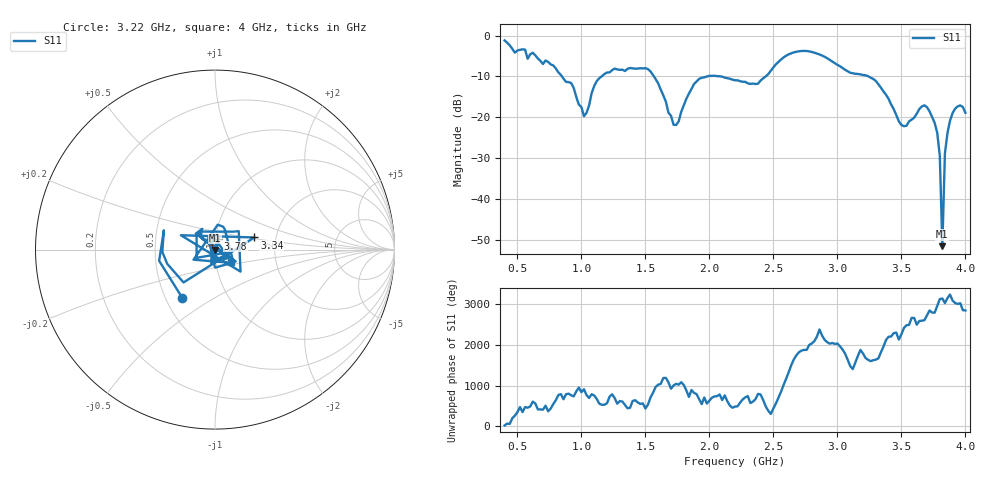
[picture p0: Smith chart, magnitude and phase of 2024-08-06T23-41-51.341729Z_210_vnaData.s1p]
!Created with skrf (http://scikit-rf.org).
# Hz S RI R 50.0
!freq ReS11 ImS11
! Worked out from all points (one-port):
!   181 points, 400 MHz to 4 GHz, reference 50 ohm
!   lowest |S11| = -51.6 dB at 3.82 GHz (marker M1), VSWR 1.01, Z = 49.9 - j0.254 ohm
!   |S11| at or under -10 dB: 1.566 GHz to 1.984 GHz (417.9 MHz wide, 23.5 % of centre); 2.083 GHz to 2.441 GHz (357.1 MHz wide, 15.8 % of centre); 3.242 GHz to end of sweep (the widest 3 of 4)
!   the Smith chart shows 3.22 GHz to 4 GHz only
!   S11 on the Smith chart (normalised r, x): 3.22 GHz: 0.61, -0.37; 3.34 GHz: 1.54, +0.22; 3.78 GHz: 1.03, +0.13; 4 GHz: 1.18, -0.17
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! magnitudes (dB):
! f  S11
! 400 MHz  -1.2
! 860 MHz  -10.6
! 920 MHz  -11.6
! 1.02 GHz  -19.8
! 1.12 GHz  -11.2
! 1.3 GHz  -8.4
! 1.52 GHz  -8.2
! 1.6 GHz  -11.7
! 1.72 GHz  -21.9
! 1.76 GHz  -21.0
! 1.92 GHz  -10.6
! 2.2 GHz  -11.0
! 2.38 GHz  -11.8
! 2.66 GHz  -4.1
! 2.86 GHz  -4.6
! 3.1 GHz  -9.1
! 3.22 GHz  -9.8
! 3.34 GHz  -12.8
! 3.5 GHz  -21.9
! 3.56 GHz  -21.0
! 3.68 GHz  -17.1
! 3.78 GHz  -23.8
! 3.8 GHz  -29.5
! 3.82 GHz  -51.6
! 3.84 GHz  -28.9
! 3.86 GHz  -23.9
! 3.92 GHz  -17.9
! 4 GHz  -18.9
